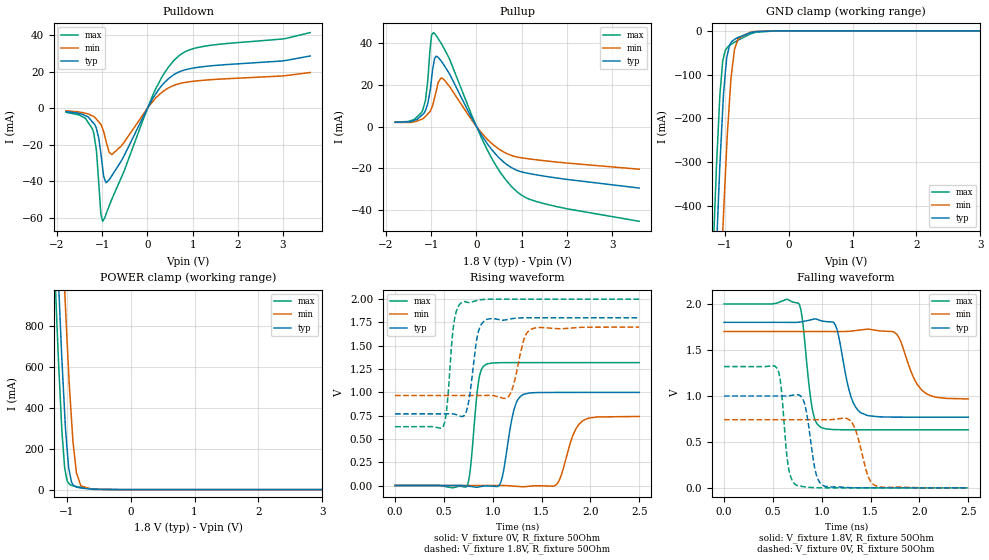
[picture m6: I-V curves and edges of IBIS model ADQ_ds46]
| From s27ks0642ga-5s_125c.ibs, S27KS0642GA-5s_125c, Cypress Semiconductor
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[Model]   ADQ_ds46
Model_type   I/O
Polarity   Non-Inverting
Enable   Active-High
Vinl = 0.54
Vinh = 1.26
Vmeas = 0.9
Vref = 0.9
Cref = 15pF
|   typ   min   max
C_comp   1.03pF   1.01pF   1.05pF
[Voltage Range]   1.8   1.7   2
[Temperature Range]   25   125   -40
[Pullup Reference]   1.8   1.7   2
[Pulldown Reference]   0   0   0
[Power Clamp Reference]   1.8   1.7   2
[GND Clamp Reference]   0   0   0
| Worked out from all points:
|   slope of the pulldown table from 0 to 0.27 V, typ, clamps not added: 24.5 ohm
|   slope of the pullup table from 0 to 0.27 V, typ, clamps not added: 29.6 ohm
|   falling waveform, V_fixture 1.8V, R_fixture 50Ohm: 20-80 % time 121ps typ, 164ps min, 82.8ps max; typ from 1.8 V to 0.769 V
|   rising waveform, V_fixture 0V, R_fixture 50Ohm: 20-80 % time 96.1ps typ, 132ps min, 67.4ps max; typ from 0 V to 0.999 V
|   rising waveform, V_fixture 1.8V, R_fixture 50Ohm: 20-80 % time 75.6ps typ, 94ps min, 63.6ps max; typ from 0.769 V to 1.8 V
|   falling waveform, V_fixture 0V, R_fixture 50Ohm: 20-80 % time 84.1ps typ, 110ps min, 65.5ps max; typ from 0.999 V to 0 V
[Pulldown]
|   Voltage   I(typ)   I(min)   I(max)
-1.8V     -1.769mA   -1.376mA   -2.199mA
-1.372V   -4.072mA   -2.723mA   -5.482mA
-1.212V   -7.594mA   -4.196mA   -11.52mA
-1.128V   -11.23mA   -5.993mA   -23.14mA
-1.03V    -24.78mA   -8.811mA   -58.09mA
-990mV    -32.86mA   -11.28mA   -62.06mA
-912.6mV  -40.86mA   -18.34mA   -57.98mA
-784mV    -36.93mA   -25.38mA   -49.75mA
184mV     7.872mA    5.645mA    10.7mA
660mV     19.5mA     13.2mA     28.03mA
1.118V    22.49mA    15.1mA     33.4mA
3.6V      28.73mA    19.66mA    41.58mA
[GND Clamp]
|   Voltage   I(typ)   I(min)   I(max)
-1.8V     -3.484A    -3.81A     -3.305A
-1.161V   -624.8mA   -969mA     -435mA
-1.128V   -497.4mA   -841.5mA   -309.9mA
-1.074V   -304.9mA   -632.8mA   -145.4mA
-1.028V   -172.9mA   -455.9mA   -67.31mA
-1.019V   -146.2mA   -423.6mA   -61.52mA
-968.4mV  -61.86mA   -267mA     -40.2mA
-900.7mV  -27.1mA    -107.9mA   -31.21mA
-846.3mV  -19.53mA   -42.91mA   -26.2mA
-790mV    -15.06mA   -18.02mA   -21.38mA
-516mV    -1.995mA   -1.197mA   -3.081mA
3.6V      0A         0A         0A
[Pullup]
|   Voltage   I(typ)   I(min)   I(max)
-1.8V     2.031mA    1.963mA    2.08mA
-1.188V   5.804mA    3.679mA    7.85mA
-1.128V   7.692mA    4.869mA    12.5mA
-1.076V   10.88mA    6.014mA    21.85mA
-992mV    22.96mA    8.838mA    43.76mA
-946mV    30.1mA     11.92mA    44.97mA
-887.4mV  33.66mA    17.22mA    43.42mA
-763.2mV  30.86mA    23.17mA    39.17mA
233.2mV   -7.982mA   -5.956mA   -10.85mA
872mV     -20.74mA   -14.45mA   -30.72mA
1.55V     -23.91mA   -16.48mA   -37.17mA
3.6V      -29.43mA   -20.43mA   -45.35mA
[POWER Clamp]
|   Voltage   I(typ)   I(min)   I(max)
-1.8V     6.849A     7.494A     6.488A
-1.176V   1.405A     2.099A     1A
-1.161V   1.28A      1.983A     885.1mA
-1.125V   1.005A     1.708A     615mA
-1.074V   636.9mA    1.315A     287.5mA
-1.028V   359.4mA    962.9mA    101.4mA
-968.4mV  108.3mA    575.4mA    32.12mA
-946mV    72.2mA     452.9mA    23.6mA
-901.8mV  24.72mA    238.2mA    18.78mA
-846.3mV  12.19mA    82.01mA    15.01mA
-776mV    7.765mA    17.89mA    11.14mA
3.6V      0A         0A         0A
[Ramp]
R_load = 50
|   typ   min   max
dV/dt_r 5.9945E-01/9.5996E-11   4.4455E-01/1.3152E-10   7.9131E-01/6.7322E-11
dV/dt_f 6.1883E-01/1.2137E-10   4.3988E-01/1.6270E-10   8.2126E-01/8.2569E-11
[Falling Waveform]
V_fixture = 1.8V
V_fixture_min = 1.7V
V_fixture_max = 2V
R_fixture = 50Ohm
C_fixture = 0F
|   Time   V(typ)   V(min)   V(max)
0s        1.8V       1.7V       2V
765ps     1.802V     1.7V       2.003V
900ps     1.83V      1.7V       878.3mV
990ps     1.818V     1.7V       659mV
1.14ns    1.77V      1.699V     633.2mV
1.28ns    1.062V     1.703V     631.5mV
1.4ns     817.2mV    1.717V     631.3mV
1.77ns    769mV      1.669V     631.2mV
2.07ns    768.6mV    1.025V     631.2mV
2.5ns     768.6mV    966.9mV    631.2mV
[Rising Waveform]
V_fixture = 0V
V_fixture_min = 0V
V_fixture_max = 0V
R_fixture = 50Ohm
C_fixture = 0F
|   Time   V(typ)   V(min)   V(max)
0s        0V         0V         0V
735ps     -5.556mV   0V         -10.17mV
855ps     -16.47mV   -1.668uV   1.116V
935ps     -4.267mV   -27.02uV   1.302V
1.075ns   16.53mV    590.1uV    1.318V
1.215ns   802.5mV    -6.538mV   1.319V
1.315ns   978.2mV    -14.22mV   1.319V
1.65ns    998.8mV    7.2mV      1.319V
1.92ns    999mV      692.4mV    1.319V
2.5ns     999.1mV    740.9mV    1.319V
[Rising Waveform]
V_fixture = 1.8V
V_fixture_min = 1.7V
V_fixture_max = 2V
R_fixture = 50Ohm
C_fixture = 0F
|   Time   V(typ)   V(min)   V(max)
0s        768.6mV    966.1mV    631.2mV
495ps     768.6mV    966.1mV    637.8mV
530ps     768.9mV    966.1mV    828.6mV
605ps     766.4mV    966.1mV    1.76V
690ps     740.8mV    966.1mV    1.969V
850ps     1.637V     966mV      1.989V
915ps     1.768V     966.4mV    1.998V
1.17ns    1.785V     964.9mV    2V
1.395ns   1.8V       1.678V     2V
2.5ns     1.8V       1.7V       2V
[Falling Waveform]
|Gnd
V_fixture = 0V
V_fixture_min = 0V
V_fixture_max = 0V
R_fixture = 50Ohm
C_fixture = 0F
|   Time   V(typ)   V(min)   V(max)
0s        999.1mV    741.1mV    1.319V
545ps     999.1mV    741.1mV    1.297V
655ps     999.9mV    741.1mV    251mV
735ps     1.013V     741.1mV    31.34mV
825ps     911.5mV    741.1mV    11.2mV
925ps     232.8mV    741.1mV    2.073mV
1.005ns   32.15mV    741.1mV    472.9uV
1.31ns    1.983mV    710.4mV    2.009uV
1.545ns   67.36uV    25.62mV    -549.2nV
2.5ns     0V         5.242uV    0V
